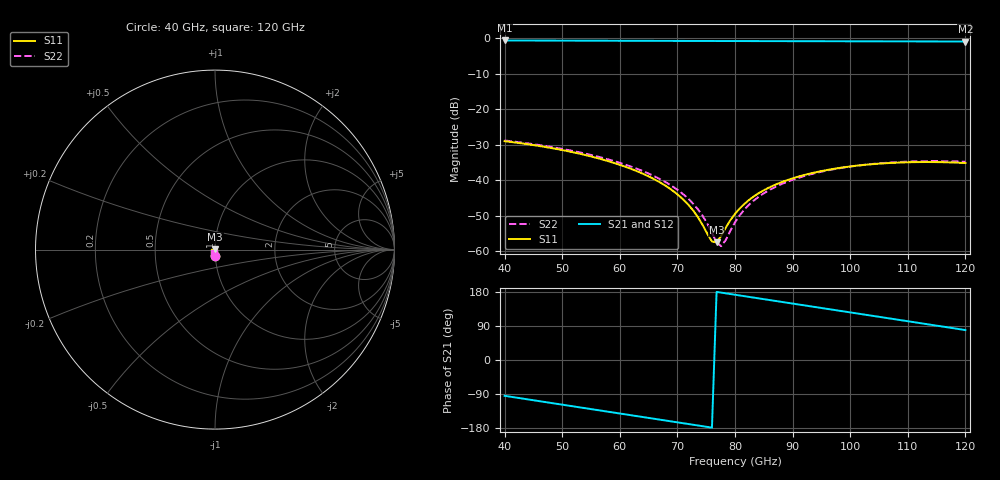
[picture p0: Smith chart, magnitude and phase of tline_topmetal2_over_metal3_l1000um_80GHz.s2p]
#  GHZ S DB R 50
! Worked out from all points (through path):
!   101 points, 40 GHz to 120 GHz, reference 50 ohm
!   highest |S21| = -0.55 dB at 40 GHz (marker M1); lowest = -0.8 dB at 120 GHz (marker M2)
!   group delay of S21, straight-line fit = 6.47 ps
!   lowest |S11| = -57.5 dB at 76.8 GHz (marker M3), VSWR 1.00, Z = 50 + j0.129 ohm
!   |S11| at or under -10 dB: start of sweep to end of sweep
!   |S22| runs from -58.5 to -28.7 dB; largest |S21 - S12| = 1.1e-14
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40  -28.94 -88.9  -0.55 -94.5  -0.55 -94.5  -28.75 -89.0
46.4  -30.40 -106.1  -0.58 -109.5  -0.58 -109.5  -30.13 -106.2
53.6  -32.70 -125.7  -0.61 -126.3  -0.61 -126.3  -32.31 -125.7
61.6  -36.53 -148.4  -0.65 -144.9  -0.65 -144.9  -35.90 -148.0
67.2  -40.77 -166.2  -0.67 -158.0  -0.67 -158.0  -39.81 -165.1
70.4  -44.48 -179.1  -0.68 -165.4  -0.68 -165.4  -43.12 -176.5
72.8  -48.61 166.7  -0.69 -171.0  -0.69 -171.0  -46.67 172.2
74.4  -52.61 149.1  -0.70 -174.8  -0.70 -174.8  -50.03 160.7
76  -57.20 107.7  -0.70 -178.5  -0.70 -178.5  -54.78 138.2
76.8  -57.47 74.3  -0.71 179.7  -0.71 179.7  -57.45 114.8
77.6  -55.64 46.9  -0.71 177.8  -0.71 177.8  -58.53 79.2
78.4  -53.30 29.7  -0.71 175.9  -0.71 175.9  -56.79 46.8
80  -49.43 11.1  -0.72 172.2  -0.72 172.2  -51.82 15.4
80.8  -47.93 5.2  -0.72 170.3  -0.72 170.3  -49.88 7.5
82.4  -45.55 -3.6  -0.73 166.6  -0.73 166.6  -46.92 -3.1
84.8  -42.96 -13.7  -0.74 161.0  -0.74 161.0  -43.85 -14.0
88.8  -40.06 -27.4  -0.75 151.7  -0.75 151.7  -40.55 -27.9
93.6  -37.85 -41.9  -0.76 140.5  -0.76 140.5  -38.08 -42.4
100.8  -35.91 -62.4  -0.79 123.7  -0.79 123.7  -35.92 -62.7
107.2  -35.07 -80.2  -0.81 108.8  -0.81 108.8  -34.94 -80.3
113.6  -34.82 -98.0  -0.83 93.9  -0.83 93.9  -34.58 -97.9
120  -35.10 -115.9  -0.85 79.0  -0.85 79.0  -34.75 -115.5
